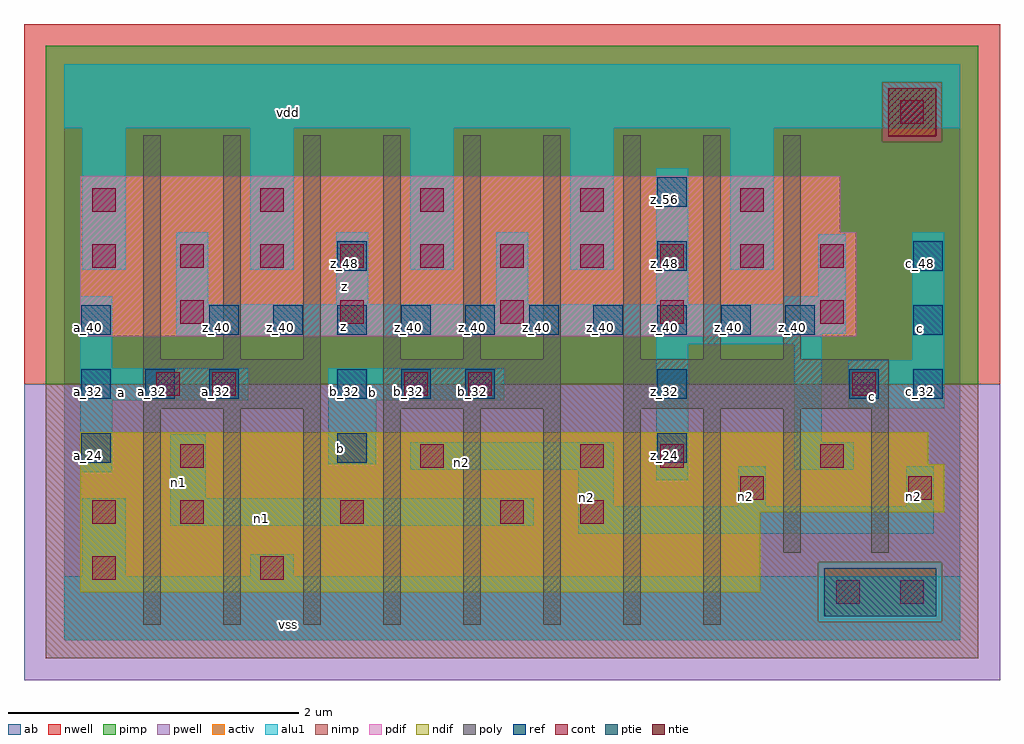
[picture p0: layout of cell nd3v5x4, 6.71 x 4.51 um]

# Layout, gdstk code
import gdstk
lib = gdstk.Library(unit=1e-6, precision=2.5e-09)
def R(c, l, rs):  # rectangles x0, y0, x1, y1
    for r in rs: c.add(gdstk.rectangle(r[:2], r[2:], *l))
def A(c, l, x, y, w, h, nx, ny, dx, dy):  # array of equal rectangles
    R(c, l, [(x+i*dx, y+j*dy, x+i*dx+w, y+j*dy+h) for i in range(nx) for j in range(ny)])
ndif = (3, 0)
pdif = (4, 0)
ntie = (5, 0)
ptie = (6, 0)
ref = (24, 0)
cont = (25, 0)
pwell = (41, 0)
nwell = (42, 0)
activ = (43, 0)
pimp = (44, 0)
nimp = (45, 0)
poly = (46, 0)
alu1 = (49, 0)
ab = (63, 0)

nd3v5x4 = lib.new_cell('nd3v5x4')
R(nd3v5x4, ndif, [(0.11,0.33,4.785,0.88), (0.11,0.88,6.05,1.21), (0.11,1.21,5.94,1.43)])
R(nd3v5x4, pdif, [(0.11,2.09,5.445,2.805), (0.11,2.805,5.335,3.19)])
R(nd3v5x4, ntie, [(5.665,3.465,5.995,3.795)])
R(nd3v5x4, ptie, [(5.225,0.165,5.995,0.495)])
A(nd3v5x4, ref, 0.12, 1.66, 0.2, 0.2, 3, 1, 0.44, 0)
A(nd3v5x4, ref, 1.88, 1.66, 0.2, 0.2, 3, 1, 0.44, 0)
A(nd3v5x4, ref, 5.84, 1.66, 0.2, 0.2, 1, 3, 0, 0.44)
A(nd3v5x4, ref, 1, 2.1, 0.2, 0.2, 10, 1, 0.44, 0)
R(nd3v5x4, ref, [(0.12,1.22,0.32,1.42), (1.88,1.22,2.08,1.42), (4.08,1.22,4.28,1.42), (4.08,1.66,4.28,1.86), (5.4,1.66,5.6,1.86), (0.12,2.1,0.32,2.3), (1.88,2.54,2.08,2.74), (4.08,2.54,4.28,2.74), (4.08,2.98,4.28,3.18)])
A(nd3v5x4, cont, 0.8, 0.8, 0.16, 0.16, 3, 1, 1.1, 0)
A(nd3v5x4, cont, 0.8, 2.175, 0.16, 0.16, 5, 1, 1.1, 0)
A(nd3v5x4, cont, 0.8, 2.56, 0.16, 0.16, 9, 1, 0.55, 0)
A(nd3v5x4, cont, 1.35, 2.945, 0.16, 0.16, 4, 1, 1.1, 0)
R(nd3v5x4, cont, [(5.31,0.25,5.47,0.41), (5.75,0.25,5.91,0.41), (0.195,0.415,0.355,0.575), (1.35,0.415,1.51,0.575), (0.195,0.8,0.355,0.96), (3.55,0.8,3.71,0.96), (4.65,0.965,4.81,1.125), (5.805,0.965,5.965,1.125), (0.8,1.185,0.96,1.345), (2.45,1.185,2.61,1.345), (3.55,1.185,3.71,1.345), (4.1,1.185,4.26,1.345), (5.2,1.185,5.36,1.345), (0.635,1.68,0.795,1.84), (1.02,1.68,1.18,1.84), (2.34,1.68,2.5,1.84), (2.78,1.68,2.94,1.84), (5.42,1.68,5.58,1.84), (0.195,2.56,0.355,2.72), (0.195,2.945,0.355,3.105), (5.75,3.55,5.91,3.71)])
R(nd3v5x4, pwell, [(-0.275,-0.275,6.435,1.76)])
R(nd3v5x4, nwell, [(-0.275,1.76,6.435,4.235)])
R(nd3v5x4, activ, [(5.225,0.165,5.995,0.495), (0.11,0.33,4.785,0.88), (0.11,0.88,6.05,1.21), (0.11,1.21,5.94,1.43), (0.11,2.09,5.445,2.805), (0.11,2.805,5.335,3.19), (5.665,3.465,5.995,3.795)])
R(nd3v5x4, pimp, [(5.185,0.125,6.035,0.535), (-0.125,1.76,6.285,3.425), (-0.125,3.425,5.625,3.835), (6.035,3.425,6.285,3.835), (-0.125,3.835,6.285,4.085)])
R(nd3v5x4, nimp, [(-0.125,-0.125,6.285,0.125), (-0.125,0.125,5.185,0.535), (6.035,0.125,6.285,0.535), (-0.125,0.535,6.285,1.76), (5.625,3.425,6.035,3.835)])
A(nd3v5x4, poly, 0.545, 0.105, 0.12, 1.485, 8, 1, 0.55, 0)
A(nd3v5x4, poly, 0.545, 1.93, 0.12, 1.54, 9, 1, 0.55, 0)
R(nd3v5x4, poly, [(4.945,0.6,5.065,1.59), (5.55,0.6,5.67,1.59), (0.545,1.59,1.765,1.93), (2.195,1.59,3.415,1.93), (3.845,1.59,5.67,1.93)])
A(nd3v5x4, alu1, 0.77, 2.31, 0.22, 0.495, 3, 1, 1.1, 0)
A(nd3v5x4, alu1, 1.28, 2.545, 0.3, 0.975, 4, 1, 1.1, 0)
R(nd3v5x4, alu1, [(0,0,6.16,0.44), (0.125,0.44,0.425,0.975), (1.28,0.44,1.58,0.59), (3.535,0.73,5.98,0.92), (0.73,0.785,3.23,0.975), (3.535,0.92,3.78,1.17), (4.635,0.92,4.825,1.195), (5.79,0.92,5.98,1.195), (0.73,0.975,0.975,1.415), (4.07,1.1,4.29,2.035), (0.11,1.155,0.33,1.65), (2.38,1.17,3.78,1.36), (5.02,1.17,5.43,1.36), (1.815,1.21,2.145,1.65), (5.02,1.36,5.21,2.035), (5.39,1.595,6.05,1.925), (0.11,1.65,1.265,1.87), (1.815,1.65,3.025,1.87), (0.11,1.87,0.33,2.365), (5.83,1.925,6.05,2.805), (4.07,2.035,5.21,2.09), (0.77,2.09,5.21,2.105), (0.77,2.105,5.375,2.31), (4.07,2.31,4.29,3.245), (4.95,2.31,5.375,2.365), (5.185,2.365,5.375,2.79), (0.125,2.545,0.425,3.52), (0,3.52,6.16,3.96)])
R(nd3v5x4, ab, [(0,0,6.16,3.96)])
nd3v5x4.add(gdstk.Label('vss', (1.54,0.11), layer=49, texttype=0))
nd3v5x4.add(gdstk.Label('n2', (5.8375,0.9875), layer=49, texttype=0))
nd3v5x4.add(gdstk.Label('n2', (4.6825,0.9875), layer=49, texttype=0))
nd3v5x4.add(gdstk.Label('c', (5.555,1.6775), layer=49, texttype=0))
nd3v5x4.add(gdstk.Label('c', (5.885,2.145), layer=49, texttype=0))
nd3v5x4.add(gdstk.Label('n2', (3.595,0.9825), layer=49, texttype=0))
nd3v5x4.add(gdstk.Label('n1', (1.355,0.8325), layer=49, texttype=0))
nd3v5x4.add(gdstk.Label('n2', (2.73,1.2175), layer=49, texttype=0))
nd3v5x4.add(gdstk.Label('b', (1.8975,1.32), layer=49, texttype=0))
nd3v5x4.add(gdstk.Label('n1', (0.79,1.085), layer=49, texttype=0))
nd3v5x4.add(gdstk.Label('b', (2.1175,1.705), layer=49, texttype=0))
nd3v5x4.add(gdstk.Label('a', (0.3975,1.705), layer=49, texttype=0))
nd3v5x4.add(gdstk.Label('z', (1.92,2.155), layer=49, texttype=0))
nd3v5x4.add(gdstk.Label('z', (1.925,2.4325), layer=49, texttype=0))
nd3v5x4.add(gdstk.Label('vdd', (1.54,3.63), layer=49, texttype=0))
nd3v5x4.add(gdstk.Label('z_56', (4.13,3.03), layer=24, texttype=0))
nd3v5x4.add(gdstk.Label('z_40', (5.01,2.15), layer=24, texttype=0))
nd3v5x4.add(gdstk.Label('z_40', (4.57,2.15), layer=24, texttype=0))
nd3v5x4.add(gdstk.Label('z_40', (1.93,2.15), layer=24, texttype=0))
nd3v5x4.add(gdstk.Label('z_40', (2.37,2.15), layer=24, texttype=0))
nd3v5x4.add(gdstk.Label('z_40', (2.81,2.15), layer=24, texttype=0))
nd3v5x4.add(gdstk.Label('b_24', (1.93,1.27), layer=24, texttype=0))
nd3v5x4.add(gdstk.Label('c_32', (5.45,1.71), layer=24, texttype=0))
nd3v5x4.add(gdstk.Label('c_40', (5.89,2.15), layer=24, texttype=0))
nd3v5x4.add(gdstk.Label('c_48', (5.89,2.59), layer=24, texttype=0))
nd3v5x4.add(gdstk.Label('c_32', (5.89,1.71), layer=24, texttype=0))
nd3v5x4.add(gdstk.Label('a_32', (0.61,1.71), layer=24, texttype=0))
nd3v5x4.add(gdstk.Label('z_48', (1.93,2.59), layer=24, texttype=0))
nd3v5x4.add(gdstk.Label('z_48', (4.13,2.59), layer=24, texttype=0))
nd3v5x4.add(gdstk.Label('a_24', (0.17,1.27), layer=24, texttype=0))
nd3v5x4.add(gdstk.Label('b_32', (1.93,1.71), layer=24, texttype=0))
nd3v5x4.add(gdstk.Label('b_32', (2.37,1.71), layer=24, texttype=0))
nd3v5x4.add(gdstk.Label('z_40', (1.05,2.15), layer=24, texttype=0))
nd3v5x4.add(gdstk.Label('z_40', (1.49,2.15), layer=24, texttype=0))
nd3v5x4.add(gdstk.Label('z_40', (3.25,2.15), layer=24, texttype=0))
nd3v5x4.add(gdstk.Label('z_40', (3.69,2.15), layer=24, texttype=0))
nd3v5x4.add(gdstk.Label('z_40', (4.13,2.15), layer=24, texttype=0))
nd3v5x4.add(gdstk.Label('z_32', (4.13,1.71), layer=24, texttype=0))
nd3v5x4.add(gdstk.Label('z_24', (4.13,1.27), layer=24, texttype=0))
nd3v5x4.add(gdstk.Label('a_32', (0.17,1.71), layer=24, texttype=0))
nd3v5x4.add(gdstk.Label('a_40', (0.17,2.15), layer=24, texttype=0))
nd3v5x4.add(gdstk.Label('a_32', (1.05,1.71), layer=24, texttype=0))
nd3v5x4.add(gdstk.Label('b_32', (2.81,1.71), layer=24, texttype=0))

lib.write_gds('nd3v5x4.gds')
